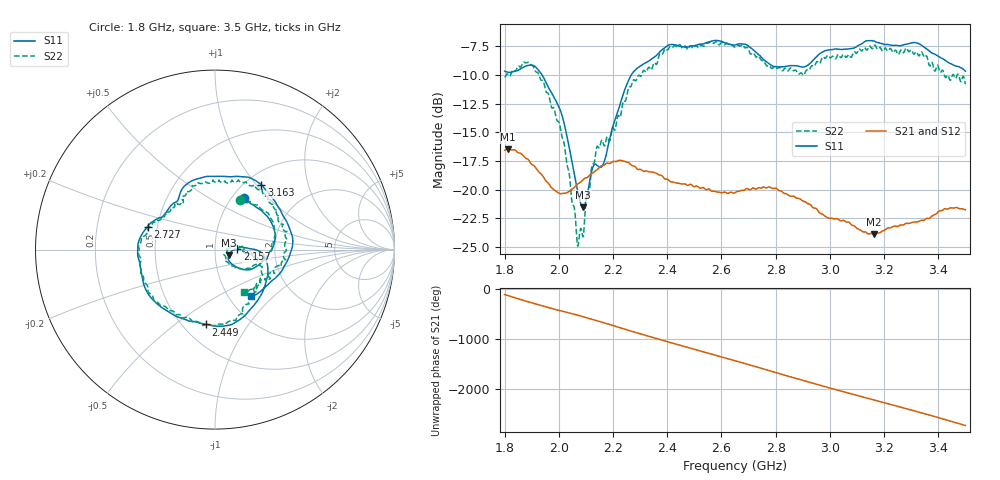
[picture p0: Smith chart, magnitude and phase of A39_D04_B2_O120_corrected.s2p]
! Created with skrf 1.9.0 (http://scikit-rf.org).
# Hz S RI R 50.0
!freq ReS11 ImS11 ReS21 ImS21 ReS12 ImS12 ReS22 ImS22
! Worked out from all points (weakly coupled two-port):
!   1601 points, 1.8 GHz to 3.5 GHz, reference 50 ohm
!   highest |S21| = -16.48 dB at 1.812 GHz (marker M1); lowest = -23.9 dB at 3.163 GHz (marker M2)
!   lowest |S11| = -21.5 dB at 2.09 GHz (marker M3), VSWR 1.18, Z = 58.3 - j3.66 ohm
!   |S11| at or under -10 dB: 1.938 GHz to 2.267 GHz (329.5 MHz wide, 15.7 % of centre)
!   |S22| runs from -24.9 to -7.1 dB; largest |S21 - S12| = 0.0024
!   S11 on the Smith chart (normalised r, x): 1.8 GHz: 1.14, +0.73; 2.157 GHz: 1.29, +0.01; 2.449 GHz: 0.65, -0.65; 2.727 GHz: 0.44, +0.13; 3.163 GHz: 1.18, +1.06; 3.5 GHz: 1.26, -0.73
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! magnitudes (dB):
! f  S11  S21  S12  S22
! 1.8 GHz  -9.7  -16.6  -16.6  -10.2
! 1.812 GHz  -9.8  -16.5  -16.5  -9.9
! 1.882 GHz  -9.2  -17.3  -17.3  -8.9
! 1.942 GHz  -10.2  -18.9  -18.9  -10.5
! 2.011 GHz  -13.5  -20.3  -20.3  -15.4
! 2.068 GHz  -19.9  -19.5  -19.6  -24.7
! 2.084 GHz  -21.4  -19.3  -19.2  -23.5
! 2.09 GHz  -21.5  -19.1  -19.2  -24.1
! 2.126 GHz  -18.0  -18.5  -18.5  -17.8
! 2.157 GHz  -18.0  -17.9  -17.9  -15.7
! 2.19 GHz  -15.4  -17.7  -17.7  -15.6
! 2.262 GHz  -10.2  -17.7  -17.7  -11.0
! 2.367 GHz  -8.1  -18.7  -18.6  -8.5
! 2.449 GHz  -7.5  -19.5  -19.5  -7.4
! 2.65 GHz  -7.4  -20.3  -20.2  -7.6
! 2.727 GHz  -8.0  -20.0  -20.0  -8.4
! 2.798 GHz  -9.3  -19.9  -19.9  -9.3
! 2.934 GHz  -8.8  -21.5  -21.4  -9.2
! 3.163 GHz  -7.1  -23.9  -23.9  -7.5
! 3.217 GHz  -7.4  -23.3  -23.3  -7.8
! 3.324 GHz  -7.2  -22.8  -22.8  -8.2
! 3.5 GHz  -9.7  -21.8  -21.7  -10.8
